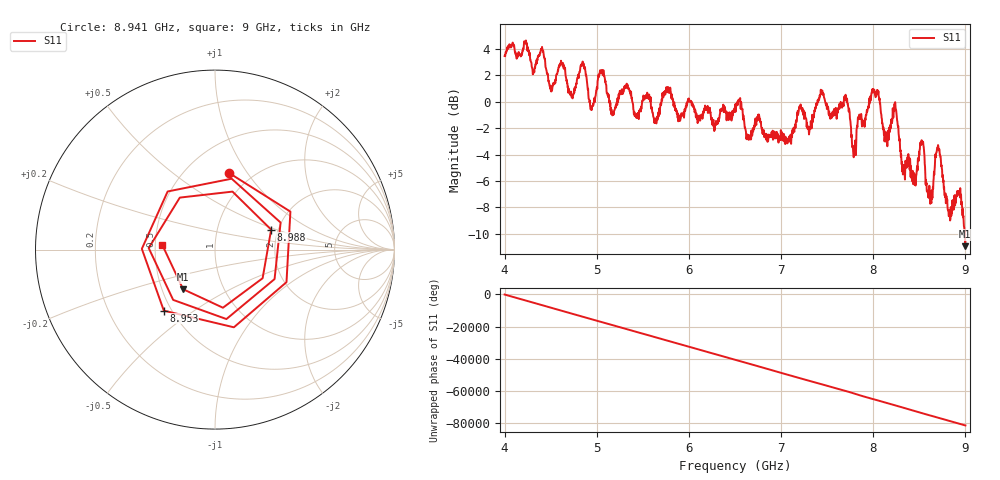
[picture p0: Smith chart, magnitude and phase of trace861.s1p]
! Created with skrf 1.8.0 (http://scikit-rf.org).
# Hz S RI R 50.0
!freq ReS11 ImS11
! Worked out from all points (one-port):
!   1601 points, 4 GHz to 9 GHz, reference 50 ohm
!   lowest |S11| = -11.0 dB at 8.997 GHz (marker M1), VSWR 1.79, Z = 32 - j15.4 ohm
!   |S11| at or under -10 dB: 8.990087 GHz to 8.992184 GHz (2.097 MHz wide, 0.0233 % of centre); 8.994691 GHz to end of sweep
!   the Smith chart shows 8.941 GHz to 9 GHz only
!   S11 on the Smith chart (normalised r, x): 8.941 GHz: 0.79, +0.83; 8.953 GHz: 0.45, -0.38; 8.988 GHz: 1.84, +0.46; 9 GHz: 0.55, +0.03
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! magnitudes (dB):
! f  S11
! 4 GHz  3.5
! 4.406 GHz  4.2
! 4.512 GHz  0.8
! 4.625 GHz  2.9
! 4.725 GHz  0.5
! 4.853 GHz  2.7
! 4.944 GHz  -0.6
! 5.05 GHz  2.2
! 5.169 GHz  -1.0
! 5.25 GHz  0.8
! 5.875 GHz  -0.9
! 6.5 GHz  -0.6
! 7.125 GHz  -2.1
! 7.441 GHz  0.7
! 7.75 GHz  -1.4
! 7.794 GHz  -3.8
! 8.031 GHz  0.6
! 8.131 GHz  -2.7
! 8.375 GHz  -4.5
! 8.531 GHz  -3.0
! 8.619 GHz  -7.7
! 8.706 GHz  -3.4
! 8.822 GHz  -8.7
! 8.941 GHz  -7.3
! 8.953 GHz  -7.1
! 8.988 GHz  -9.6
! 8.997 GHz  -11.0
! 9 GHz  -10.6
